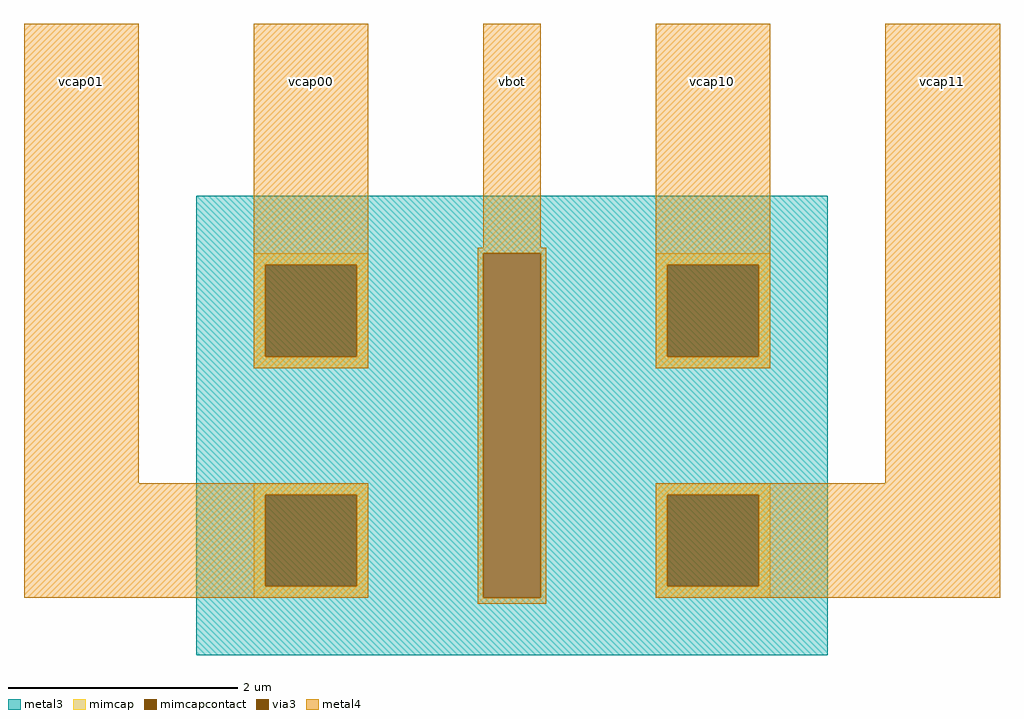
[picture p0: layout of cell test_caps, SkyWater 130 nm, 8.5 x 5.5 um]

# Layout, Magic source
magic
tech sky130A
<< metal3 >>
rect -50 300 500 350
rect -50 0 200 300
rect 250 0 500 300
rect -50 -50 500 0
<< via3 >>
rect 200 0 250 300
<< mimcap >>
rect 0 290 100 300
rect 0 210 10 290
rect 90 210 100 290
rect 0 200 100 210
rect 350 290 450 300
rect 350 210 360 290
rect 440 210 450 290
rect 350 200 450 210
rect 0 90 100 100
rect 0 10 10 90
rect 90 10 100 90
rect 0 0 100 10
rect 350 90 450 100
rect 350 10 360 90
rect 440 10 450 90
rect 350 0 450 10
<< mimcapcontact >>
rect 10 210 90 290
rect 360 210 440 290
rect 10 10 90 90
rect 360 10 440 90
<< metal4 >>
rect -200 100 -100 500
rect 0 290 100 500
rect 200 305 250 500
rect 0 210 10 290
rect 90 210 100 290
rect 0 200 100 210
rect 195 300 255 305
rect -200 90 100 100
rect -200 10 10 90
rect 90 10 100 90
rect -200 0 100 10
rect 195 0 200 300
rect 250 0 255 300
rect 350 290 450 500
rect 350 210 360 290
rect 440 210 450 290
rect 350 200 450 210
rect 550 100 650 500
rect 350 90 650 100
rect 350 10 360 90
rect 440 10 650 90
rect 350 0 650 10
rect 195 -5 255 0
<< labels >>
flabel metal3 200 400 250 500 0 FreeSans 400 0 0 0 vbot
flabel metal3 0 400 100 500 0 FreeSans 200 0 0 0 vcap00
flabel metal3 -200 400 -100 500 0 FreeSans 200 0 0 0 vcap01
flabel metal3 350 400 450 500 0 FreeSans 200 0 0 0 vcap10
flabel metal3 550 400 650 500 0 FreeSans 200 0 0 0 vcap11
<< end >>
